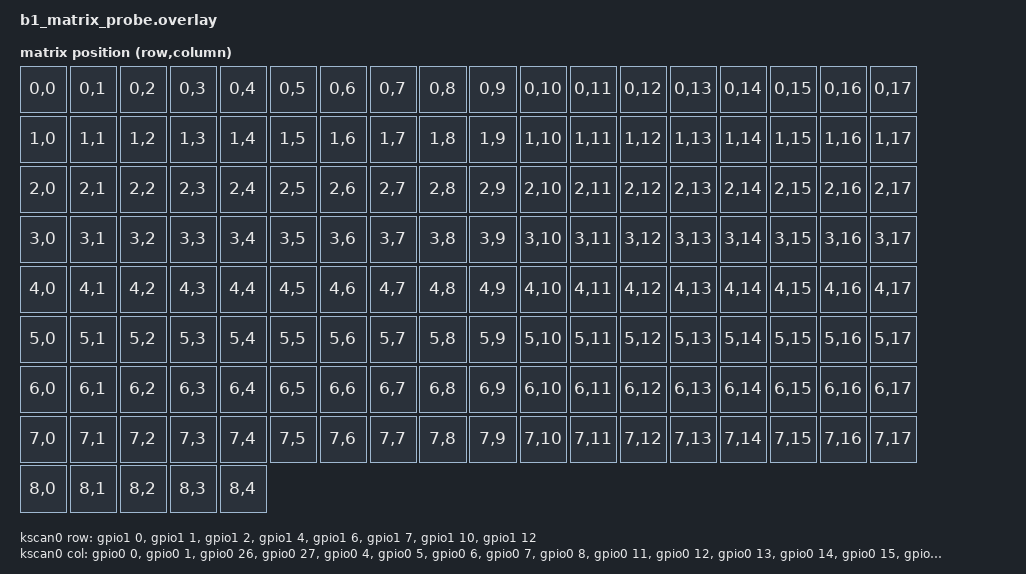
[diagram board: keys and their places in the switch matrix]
/*
 * Keychron B1 Pro diagnostic shield.
 *
 * This shield is intentionally built *alongside* keychron_b1_us:
 *
 *   SHIELD="keychron_b1_us b1_matrix_probe"
 *
 * The stock Keychron B1 shield supplies all of Keychron's normal B1
 * configuration. This second shield is loaded afterward and overrides only:
 *   1. the GPIO matrix scan direction/electrical input flags
 *   2. the B1 matrix transform, making every 8x18 matrix coordinate visible
 *
 * Do not flash until zephyr.dts has been inspected and verified.
 */

#include <dt-bindings/gpio/gpio.h>
#include <dt-bindings/zmk/matrix_transform.h>

&kscan0 {
    diode-direction = "row2col";

    row-gpios =
        <&gpio1 0 GPIO_ACTIVE_HIGH>,
        <&gpio1 1 GPIO_ACTIVE_HIGH>,
        <&gpio1 2 GPIO_ACTIVE_HIGH>,
        <&gpio1 4 GPIO_ACTIVE_HIGH>,
        <&gpio1 6 GPIO_ACTIVE_HIGH>,
        <&gpio1 7 GPIO_ACTIVE_HIGH>,
        <&gpio1 10 GPIO_ACTIVE_HIGH>,
        <&gpio1 12 GPIO_ACTIVE_HIGH>;

    col-gpios =
        <&gpio0 0 (GPIO_ACTIVE_HIGH | GPIO_PULL_DOWN)>,
        <&gpio0 1 (GPIO_ACTIVE_HIGH | GPIO_PULL_DOWN)>,
        <&gpio0 26 (GPIO_ACTIVE_HIGH | GPIO_PULL_DOWN)>,
        <&gpio0 27 (GPIO_ACTIVE_HIGH | GPIO_PULL_DOWN)>,
        <&gpio0 4 (GPIO_ACTIVE_HIGH | GPIO_PULL_DOWN)>,
        <&gpio0 5 (GPIO_ACTIVE_HIGH | GPIO_PULL_DOWN)>,
        <&gpio0 6 (GPIO_ACTIVE_HIGH | GPIO_PULL_DOWN)>,
        <&gpio0 7 (GPIO_ACTIVE_HIGH | GPIO_PULL_DOWN)>,
        <&gpio0 8 (GPIO_ACTIVE_HIGH | GPIO_PULL_DOWN)>,
        <&gpio0 11 (GPIO_ACTIVE_HIGH | GPIO_PULL_DOWN)>,
        <&gpio0 12 (GPIO_ACTIVE_HIGH | GPIO_PULL_DOWN)>,
        <&gpio0 13 (GPIO_ACTIVE_HIGH | GPIO_PULL_DOWN)>,
        <&gpio0 14 (GPIO_ACTIVE_HIGH | GPIO_PULL_DOWN)>,
        <&gpio0 15 (GPIO_ACTIVE_HIGH | GPIO_PULL_DOWN)>,
        <&gpio0 16 (GPIO_ACTIVE_HIGH | GPIO_PULL_DOWN)>,
        <&gpio0 17 (GPIO_ACTIVE_HIGH | GPIO_PULL_DOWN)>,
        <&gpio0 18 (GPIO_ACTIVE_HIGH | GPIO_PULL_DOWN)>,
        <&gpio0 20 (GPIO_ACTIVE_HIGH | GPIO_PULL_DOWN)>;
};

&default_transform {
    columns = <18>;
    rows = <9>;
    map = <
        RC(0,0) RC(0,1) RC(0,2) RC(0,3) RC(0,4) RC(0,5) RC(0,6) RC(0,7) RC(0,8) RC(0,9) RC(0,10) RC(0,11) RC(0,12) RC(0,13) RC(0,14) RC(0,15) RC(0,16) RC(0,17)
        RC(1,0) RC(1,1) RC(1,2) RC(1,3) RC(1,4) RC(1,5) RC(1,6) RC(1,7) RC(1,8) RC(1,9) RC(1,10) RC(1,11) RC(1,12) RC(1,13) RC(1,14) RC(1,15) RC(1,16) RC(1,17)
        RC(2,0) RC(2,1) RC(2,2) RC(2,3) RC(2,4) RC(2,5) RC(2,6) RC(2,7) RC(2,8) RC(2,9) RC(2,10) RC(2,11) RC(2,12) RC(2,13) RC(2,14) RC(2,15) RC(2,16) RC(2,17)
        RC(3,0) RC(3,1) RC(3,2) RC(3,3) RC(3,4) RC(3,5) RC(3,6) RC(3,7) RC(3,8) RC(3,9) RC(3,10) RC(3,11) RC(3,12) RC(3,13) RC(3,14) RC(3,15) RC(3,16) RC(3,17)
        RC(4,0) RC(4,1) RC(4,2) RC(4,3) RC(4,4) RC(4,5) RC(4,6) RC(4,7) RC(4,8) RC(4,9) RC(4,10) RC(4,11) RC(4,12) RC(4,13) RC(4,14) RC(4,15) RC(4,16) RC(4,17)
        RC(5,0) RC(5,1) RC(5,2) RC(5,3) RC(5,4) RC(5,5) RC(5,6) RC(5,7) RC(5,8) RC(5,9) RC(5,10) RC(5,11) RC(5,12) RC(5,13) RC(5,14) RC(5,15) RC(5,16) RC(5,17)
        RC(6,0) RC(6,1) RC(6,2) RC(6,3) RC(6,4) RC(6,5) RC(6,6) RC(6,7) RC(6,8) RC(6,9) RC(6,10) RC(6,11) RC(6,12) RC(6,13) RC(6,14) RC(6,15) RC(6,16) RC(6,17)
        RC(7,0) RC(7,1) RC(7,2) RC(7,3) RC(7,4) RC(7,5) RC(7,6) RC(7,7) RC(7,8) RC(7,9) RC(7,10) RC(7,11) RC(7,12) RC(7,13) RC(7,14) RC(7,15) RC(7,16) RC(7,17)
        RC(8,0) RC(8,1) RC(8,2) RC(8,3) RC(8,4)
    >;
};
